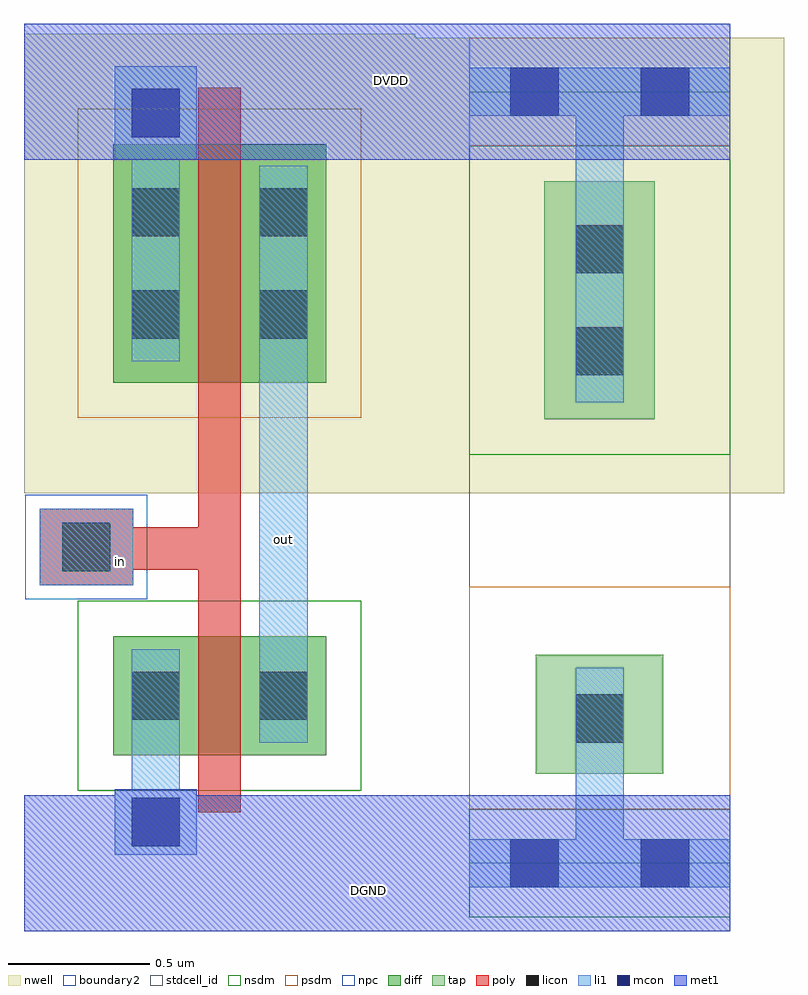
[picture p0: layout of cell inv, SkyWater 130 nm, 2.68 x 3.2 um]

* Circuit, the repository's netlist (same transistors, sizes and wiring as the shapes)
** sch_path: /home/joyen/ee5311/EE5311/assignments/assignment4/inv.sch
.subckt inv DVDD in out DGND
*.PININFO in:I out:O DVDD:B DGND:B
XM3 out in DVDD DVDD sky130_fd_pr__pfet_01v8 L=0.15 W=0.84 nf=1
XM2 out in DGND DGND sky130_fd_pr__nfet_01v8 L=0.15 W=0.42 nf=1
.ends

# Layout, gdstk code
import gdstk
lib = gdstk.Library(unit=1e-6, precision=1e-09)
def R(c, l, rs):  # rectangles x0, y0, x1, y1
    for r in rs: c.add(gdstk.rectangle(r[:2], r[2:], *l))
nwell = (64, 20)
diff = (65, 20)
tap = (65, 44)
poly = (66, 20)
licon = (66, 44)
li1 = (67, 20)
mcon = (67, 44)
met1 = (68, 20)
stdcell_id = (81, 4)
nsdm = (93, 44)
psdm = (94, 20)
npc = (95, 20)
boundary2 = (236, 0)

tap_ = lib.new_cell('tap')
R(tap_, nwell, [(-0.19,1.305,1.11,2.91)])
R(tap_, tap, [(0.235,0.315,0.685,0.735), (0.265,1.565,0.655,2.405)])
R(tap_, licon, [(0.375,0.425,0.545,0.595), (0.375,1.72,0.545,1.89), (0.375,2.08,0.545,2.25)])
R(tap_, li1, [(0,-0.085,0.92,0.085), (0.375,0,0.545,0.69), (0.375,1.625,0.545,2.72), (0,2.635,0.92,2.805)])
R(tap_, mcon, [(0.145,-0.085,0.315,0.085), (0.605,-0.085,0.775,0.085), (0.145,2.635,0.315,2.805), (0.605,2.635,0.775,2.805)])
R(tap_, met1, [(0,-0.24,0.92,0.24), (0,2.48,0.92,2.96)])
R(tap_, stdcell_id, [(0,0,0.92,2.72)])
R(tap_, nsdm, [(0,-0.19,0.92,0.19), (0,1.44,0.92,2.53)])
R(tap_, psdm, [(0,0.19,0.92,0.975), (0,2.53,0.92,2.91)])
R(tap_, boundary2, [(0,0,0.92,2.72)])
tap_.add(gdstk.Label('tap', (0,0), layer=83, texttype=44))

pfet = lib.new_cell('pfet')
R(pfet, nwell, [(-0.315,-0.39,1.065,1.23)])
R(pfet, diff, [(0,0,0.75,0.84)])
R(pfet, poly, [(0.3,-0.2,0.45,1.04)])
R(pfet, licon, [(0.065,0.155,0.235,0.325), (0.515,0.155,0.685,0.325), (0.065,0.515,0.235,0.685), (0.515,0.515,0.685,0.685)])
R(pfet, li1, [(0.065,0.075,0.235,0.765), (0.515,0.075,0.685,0.765)])
R(pfet, psdm, [(-0.125,-0.125,0.875,0.965)])

nfet = lib.new_cell('nfet')
R(nfet, diff, [(0,0,0.75,0.42)])
R(nfet, poly, [(0.3,-0.2,0.45,0.62)])
R(nfet, licon, [(0.065,0.125,0.235,0.295), (0.515,0.125,0.685,0.295)])
R(nfet, li1, [(0.065,0.045,0.235,0.375), (0.515,0.045,0.685,0.375)])
R(nfet, nsdm, [(-0.125,-0.125,0.875,0.545)])

vias_gen = lib.new_cell('vias_gen')
R(vias_gen, li1, [(0,0,0.29,0.33)])
R(vias_gen, mcon, [(0.06,0.08,0.23,0.25)])
R(vias_gen, met1, [(0,0,0.29,0.33)])

vias_gen_1 = lib.new_cell('vias_gen$1')
R(vias_gen_1, li1, [(0,0,0.29,0.23)])
R(vias_gen_1, mcon, [(0.06,0.03,0.23,0.2)])
R(vias_gen_1, met1, [(0,0,0.29,0.23)])

vias_gen_2 = lib.new_cell('vias_gen$2')
R(vias_gen_2, poly, [(0,0,0.33,0.27)])
R(vias_gen_2, licon, [(0.08,0.05,0.25,0.22)])
R(vias_gen_2, li1, [(0,0,0.33,0.27)])
R(vias_gen_2, npc, [(-0.05,-0.05,0.38,0.32)])

inv = lib.new_cell('inv')
inv.add(gdstk.FlexPath([(-0.955,1.35),(-1.5,1.35)], 0.15, ends="flush", simple_path=True, layer=66, datatype=20))  # poly
inv.add(gdstk.FlexPath([(-0.88,1.77),(-0.88,1.19)], 0.15, ends="flush", simple_path=True, layer=66, datatype=20))  # poly
inv.add(gdstk.FlexPath([(-1.105,2.7),(-1.105,3.05)], 0.17, ends="flush", simple_path=True, layer=67, datatype=20))  # li1
inv.add(gdstk.FlexPath([(-1.105,0.665),(-1.105,0.29)], 0.17, ends="flush", simple_path=True, layer=67, datatype=20))  # li1
inv.add(gdstk.FlexPath([(-0.655,2.01),(-0.655,0.995)], 0.17, ends="flush", simple_path=True, layer=67, datatype=20))  # li1
inv.add(gdstk.FlexPath([(0,2.96),(-1.57,2.96)], 0.48, ends="flush", simple_path=True, layer=68, datatype=20))  # met1
inv.add(gdstk.FlexPath([(0,0.24),(-1.57,0.24)], 0.48, ends="flush", simple_path=True, layer=68, datatype=20))  # met1
inv.add(gdstk.Reference(tap_, (0,0.24)))
inv.add(gdstk.Reference(pfet, (-1.255,1.935)))
inv.add(gdstk.Reference(nfet, (-1.255,0.62)))
inv.add(gdstk.Reference(vias_gen, (-1.25,2.72)))
inv.add(gdstk.Reference(vias_gen_1, (-1.25,0.27)))
inv.add(gdstk.Reference(vias_gen_2, (-1.515,1.22)))
inv.add(gdstk.Label('in', (-1.23,1.305), layer=67, texttype=5))
inv.add(gdstk.Label('out', (-0.655,1.38), layer=67, texttype=5))
inv.add(gdstk.Label('DVDD', (-0.275,3), layer=68, texttype=5))
inv.add(gdstk.Label('DGND', (-0.355,0.145), layer=68, texttype=5))

lib.write_gds('inv.gds')
